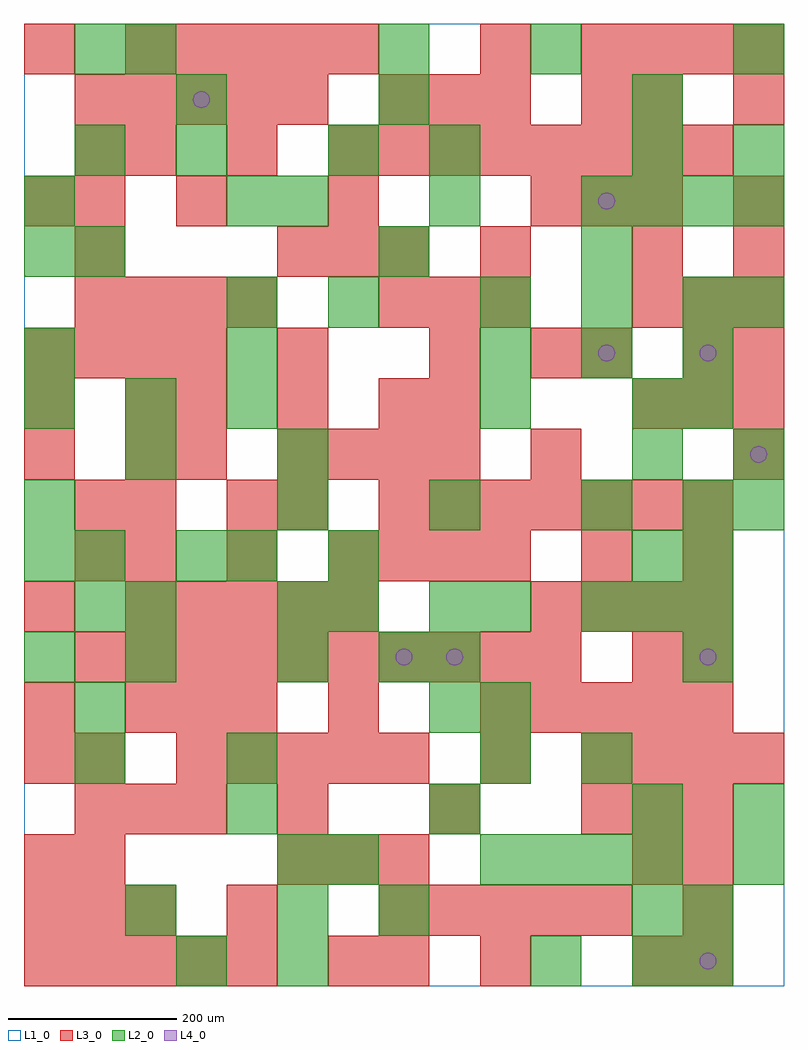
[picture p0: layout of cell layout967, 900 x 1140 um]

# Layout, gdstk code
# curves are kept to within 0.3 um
import gdstk
lib = gdstk.Library(unit=1e-6, precision=1e-09)
def R(c, l, rs):  # rectangles x0, y0, x1, y1
    for r in rs: c.add(gdstk.rectangle(r[:2], r[2:], *l))
def A(c, l, x, y, w, h, nx, ny, dx, dy):  # array of equal rectangles
    R(c, l, [(x+i*dx, y+j*dy, x+i*dx+w, y+j*dy+h) for i in range(nx) for j in range(ny)])
def P(c, l, *ps):  # polygons
    for p in ps: c.add(gdstk.Polygon(p, *l))
L1_0 = (1, 0)
L2_0 = (2, 0)
L3_0 = (3, 0)
L4_0 = (4, 0)

layout967 = lib.new_cell('layout967')
R(layout967, L1_0, [(0,0,900,1140)])
A(layout967, L2_0, 180, 0, 60, 60, 1, 3, 0, 480)
A(layout967, L2_0, 300, 0, 60, 60, 1, 3, 0, 60)
A(layout967, L2_0, 540, 120, 60, 60, 4, 1, 60, 0)
A(layout967, L2_0, 240, 180, 60, 60, 3, 1, 240, 0)
A(layout967, L2_0, 240, 240, 60, 60, 1, 3, 0, 240)
A(layout967, L2_0, 480, 300, 60, 60, 1, 3, 0, 60)
A(layout967, L2_0, 660, 420, 60, 60, 3, 1, 60, 0)
A(layout967, L2_0, 300, 540, 60, 60, 3, 2, 180, 360)
A(layout967, L2_0, 840, 600, 60, 60, 1, 3, 0, 180)
A(layout967, L2_0, 0, 660, 60, 60, 3, 1, 120, 0)
A(layout967, L2_0, 540, 720, 60, 60, 3, 2, 120, 60)
A(layout967, L2_0, 60, 840, 60, 60, 1, 3, 0, 120)
A(layout967, L2_0, 720, 900, 60, 60, 3, 1, 60, 0)
R(layout967, L2_0, [(600,0,660,60), (720,0,780,60), (780,0,840,60), (120,60,180,120), (420,60,480,120), (720,60,780,120), (780,60,840,120), (360,120,420,180), (840,120,900,180), (840,180,900,240), (60,240,120,300), (540,240,600,300), (660,240,720,300), (60,300,120,360), (540,300,600,360), (0,360,60,420), (120,360,180,420), (300,360,360,420), (420,360,480,420), (780,360,840,420), (60,420,120,480), (120,420,180,480), (300,420,360,480), (360,420,420,480), (540,420,600,480), (0,480,60,540), (60,480,120,540), (360,480,420,540), (720,480,780,540), (780,480,840,540), (0,540,60,600), (780,540,840,600), (840,540,900,600), (120,600,180,660), (300,600,360,660), (720,600,780,660), (540,660,600,720), (720,660,780,720), (780,660,840,720), (0,720,60,780), (240,780,300,840), (360,780,420,840), (0,840,60,900), (420,840,480,900), (660,840,720,900), (0,900,60,960), (240,900,300,960), (360,960,420,1020), (480,960,540,1020), (720,960,780,1020), (180,1020,240,1080), (420,1020,480,1080), (720,1020,780,1080), (120,1080,180,1140), (420,1080,480,1140), (600,1080,660,1140), (840,1080,900,1140)])
A(layout967, L3_0, 0, 0, 60, 60, 5, 1, 60, 0)
A(layout967, L3_0, 780, 0, 60, 60, 1, 4, 0, 60)
A(layout967, L3_0, 0, 60, 60, 60, 3, 1, 60, 0)
A(layout967, L3_0, 420, 60, 60, 60, 5, 1, 60, 0)
A(layout967, L3_0, 300, 120, 60, 60, 3, 2, 60, 720)
A(layout967, L3_0, 60, 180, 60, 60, 3, 1, 60, 0)
A(layout967, L3_0, 300, 180, 60, 60, 3, 1, 180, 0)
A(layout967, L3_0, 180, 240, 60, 60, 5, 1, 60, 0)
A(layout967, L3_0, 660, 240, 60, 60, 4, 2, 60, 840)
A(layout967, L3_0, 120, 300, 60, 60, 3, 1, 60, 0)
A(layout967, L3_0, 540, 300, 60, 60, 5, 1, 60, 0)
A(layout967, L3_0, 60, 360, 60, 60, 10, 1, 60, 0)
A(layout967, L3_0, 120, 420, 60, 60, 5, 2, 60, 660)
A(layout967, L3_0, 600, 420, 60, 60, 4, 1, 60, 0)
A(layout967, L3_0, 120, 480, 60, 60, 3, 2, 120, 480)
A(layout967, L3_0, 420, 480, 60, 60, 3, 2, 60, 300)
A(layout967, L3_0, 120, 540, 60, 60, 1, 3, 0, 60)
A(layout967, L3_0, 420, 540, 60, 60, 7, 2, 60, 420)
A(layout967, L3_0, 300, 600, 60, 60, 4, 1, 60, 0)
A(layout967, L3_0, 840, 600, 60, 60, 1, 3, 0, 120)
A(layout967, L3_0, 180, 660, 60, 60, 3, 1, 120, 0)
A(layout967, L3_0, 720, 660, 60, 60, 3, 2, 60, 120)
A(layout967, L3_0, 0, 720, 60, 60, 4, 1, 60, 0)
A(layout967, L3_0, 60, 780, 60, 60, 4, 1, 60, 0)
A(layout967, L3_0, 60, 840, 60, 60, 1, 3, 0, 60)
A(layout967, L3_0, 600, 900, 60, 60, 3, 1, 60, 0)
A(layout967, L3_0, 60, 1020, 60, 60, 5, 1, 60, 0)
A(layout967, L3_0, 420, 1020, 60, 60, 3, 1, 60, 0)
R(layout967, L3_0, [(360,0,420,60), (420,0,480,60), (540,0,600,60), (720,0,780,60), (240,60,300,120), (0,120,60,180), (60,120,120,180), (720,120,780,180), (720,180,780,240), (0,240,60,300), (60,240,120,300), (540,240,600,300), (0,300,60,360), (360,300,420,360), (720,360,780,420), (780,360,840,420), (0,420,60,480), (60,480,120,540), (660,480,720,540), (780,480,840,540), (60,540,120,600), (240,540,300,600), (300,540,360,600), (0,600,60,660), (180,600,240,660), (600,600,660,660), (0,660,60,720), (480,660,540,720), (300,720,360,780), (480,720,540,780), (600,720,660,780), (660,720,720,780), (780,720,840,780), (540,840,600,900), (720,840,780,900), (0,900,60,960), (180,900,240,960), (360,900,420,960), (840,900,900,960), (660,1020,720,1080), (720,1020,780,1080), (840,1020,900,1080), (0,1080,60,1140), (540,1080,600,1140)])
P(layout967, L4_0, [(220,1050),(219.239,1053.827),(217.071,1057.071),(213.827,1059.239),(210,1060),(206.173,1059.239),(202.929,1057.071),(200.761,1053.827),(200,1050),(200.761,1046.173),(202.929,1042.929),(206.173,1040.761),(210,1040),(213.827,1040.761),(217.071,1042.929),(219.239,1046.173)],
  [(460,390),(459.239,393.827),(457.071,397.071),(453.827,399.239),(450,400),(446.173,399.239),(442.929,397.071),(440.761,393.827),(440,390),(440.761,386.173),(442.929,382.929),(446.173,380.761),(450,380),(453.827,380.761),(457.071,382.929),(459.239,386.173)],
  [(520,390),(519.239,393.827),(517.071,397.071),(513.827,399.239),(510,400),(506.173,399.239),(502.929,397.071),(500.761,393.827),(500,390),(500.761,386.173),(502.929,382.929),(506.173,380.761),(510,380),(513.827,380.761),(517.071,382.929),(519.239,386.173)],
  [(700,750),(699.239,753.827),(697.071,757.071),(693.827,759.239),(690,760),(686.173,759.239),(682.929,757.071),(680.761,753.827),(680,750),(680.761,746.173),(682.929,742.929),(686.173,740.761),(690,740),(693.827,740.761),(697.071,742.929),(699.239,746.173)],
  [(700,930),(699.239,933.827),(697.071,937.071),(693.827,939.239),(690,940),(686.173,939.239),(682.929,937.071),(680.761,933.827),(680,930),(680.761,926.173),(682.929,922.929),(686.173,920.761),(690,920),(693.827,920.761),(697.071,922.929),(699.239,926.173)],
  [(820,30),(819.239,33.827),(817.071,37.071),(813.827,39.239),(810,40),(806.173,39.239),(802.929,37.071),(800.761,33.827),(800,30),(800.761,26.173),(802.929,22.929),(806.173,20.761),(810,20),(813.827,20.761),(817.071,22.929),(819.239,26.173)],
  [(820,390),(819.239,393.827),(817.071,397.071),(813.827,399.239),(810,400),(806.173,399.239),(802.929,397.071),(800.761,393.827),(800,390),(800.761,386.173),(802.929,382.929),(806.173,380.761),(810,380),(813.827,380.761),(817.071,382.929),(819.239,386.173)],
  [(820,750),(819.239,753.827),(817.071,757.071),(813.827,759.239),(810,760),(806.173,759.239),(802.929,757.071),(800.761,753.827),(800,750),(800.761,746.173),(802.929,742.929),(806.173,740.761),(810,740),(813.827,740.761),(817.071,742.929),(819.239,746.173)],
  [(880,630),(879.239,633.827),(877.071,637.071),(873.827,639.239),(870,640),(866.173,639.239),(862.929,637.071),(860.761,633.827),(860,630),(860.761,626.173),(862.929,622.929),(866.173,620.761),(870,620),(873.827,620.761),(877.071,622.929),(879.239,626.173)])

lib.write_gds('layout967.gds')
